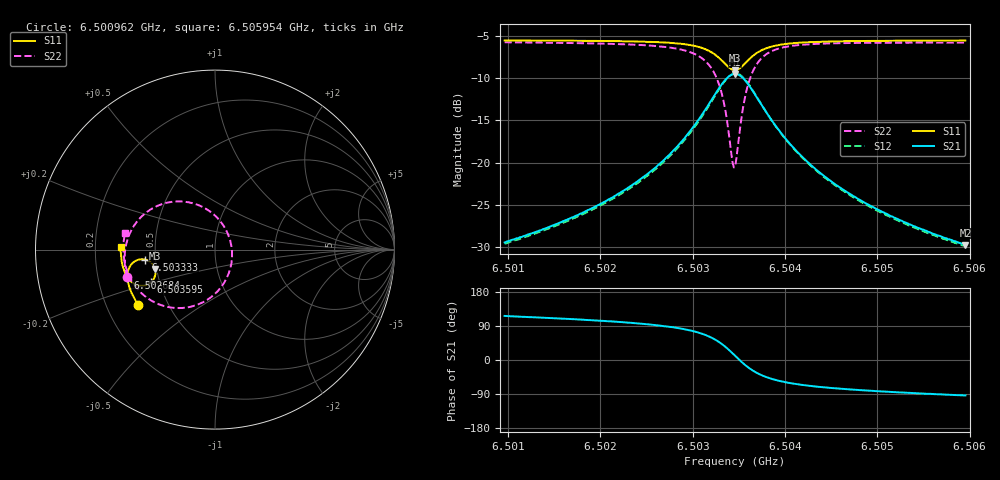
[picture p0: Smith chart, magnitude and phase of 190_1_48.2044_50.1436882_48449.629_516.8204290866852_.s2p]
#  HZ  S  RI  R  50.00
! Rohde & Schwarz Vector Network Analyzer
! Rohde-Schwarz,ZNB20-2Port,1311601062101988,3.16
! Created: UTC 3/20/2024, 11:44:35 AM
! freq[Hz]  re:S11  im:S11  re:S21  im:S21  re:S12  im:S12  re:S22  im:S22
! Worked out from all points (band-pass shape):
!   401 points, 6.500962 GHz to 6.505954 GHz, reference 50 ohm
!   highest |S21| = -9.53 dB at 6.503458 GHz (marker M1); lowest = -29.7 dB at 6.505954 GHz (marker M2)
!   |S21| within 3 dB of the highest: 6.503208 GHz to 6.503707 GHz (498.8 kHz wide, 0.00767 % of centre)
!   lowest |S11| = -9.1 dB at 6.503458 GHz (marker M3), VSWR 2.08, Z = 24.5 - j5.9 ohm
!   |S11| at or under -10 dB: nowhere
!   |S22| runs from -20.6 to -5.8 dB; largest |S21 - S12| = 0.012
!   S11 on the Smith chart (normalised r, x): 6.500962 GHz: 0.34, -0.29; 6.502684 GHz: 0.33, -0.14; 6.503333 GHz: 0.44, -0.06; 6.503595 GHz: 0.45, -0.19; 6.505954 GHz: 0.31, +0.01
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6.5009617e9  -0.4268 -0.3084  -0.0149 0.0302  -0.0132 0.0304  -0.4903 -0.153
6.501798e9  -0.4626 -0.2465  -0.0142 0.0481  -0.0117 0.0477  -0.5033 -0.0638
6.5022598e9  -0.4788 -0.2053  -0.0113 0.0677  -0.00821 0.0667  -0.5 0.00233
6.5026342e9  -0.4874 -0.1638  -0.00205 0.0974  0.00161 0.0951  -0.4801 0.0777
6.5026842e9  -0.488 -0.1571  0.000312 0.1032  0.00417 0.1006  -0.4745 0.0904
6.5029463e9  -0.4837 -0.1158  0.0268 0.1445  0.0305 0.1401  -0.4196 0.1736
6.5031335e9  -0.4619 -0.0777  0.0818 0.1871  0.0842 0.1808  -0.3144 0.2463
6.5032458e9  -0.4289 -0.057  0.1521 0.2045  0.1526 0.1982  -0.1881 0.2683
6.5033332e9  -0.3878 -0.0555  0.2326 0.1877  0.2327 0.1827  -0.049 0.2264
6.5034206e9  -0.3456 -0.0841  0.3099 0.1143  0.3122 0.1095  0.0743 0.0814
6.5034455e9  -0.3377 -0.0981  0.323 0.0827  0.3261 0.0774  0.0909 0.0222
6.503458e9  -0.3348 -0.1057  0.3274 0.066  0.3307 0.0602  0.0947 -0.00876
6.503483e9  -0.3319 -0.1217  0.3308 0.0318  0.3344 0.0248  0.0922 -0.0714
6.5035204e9  -0.3341 -0.1453  0.3236 -0.0177  0.3266 -0.0266  0.0651 -0.1587
6.5035953e9  -0.3561 -0.1816  0.2776 -0.0929  0.2772 -0.1043  -0.0434 -0.2799
6.5037077e9  -0.4011 -0.2013  0.192 -0.1376  0.1865 -0.1473  -0.2168 -0.3254
6.5038699e9  -0.4477 -0.1915  0.1093 -0.1342  0.1021 -0.1393  -0.3656 -0.2774
6.5040447e9  -0.4753 -0.1703  0.0643 -0.1136  0.0581 -0.1159  -0.4383 -0.2117
6.5042943e9  -0.4961 -0.1402  0.0341 -0.0889  0.0292 -0.0894  -0.4818 -0.1387
6.5046687e9  -0.5116 -0.101  0.0149 -0.0653  0.0116 -0.0649  -0.5042 -0.0635
6.5051306e9  -0.5211 -0.0581  0.00507 -0.0484  0.00276 -0.0479  -0.5104 0.00228
6.5059544e9  -0.5259 0.0118  -0.00198 -0.0325  -0.00342 -0.0319  -0.5027 0.0899
